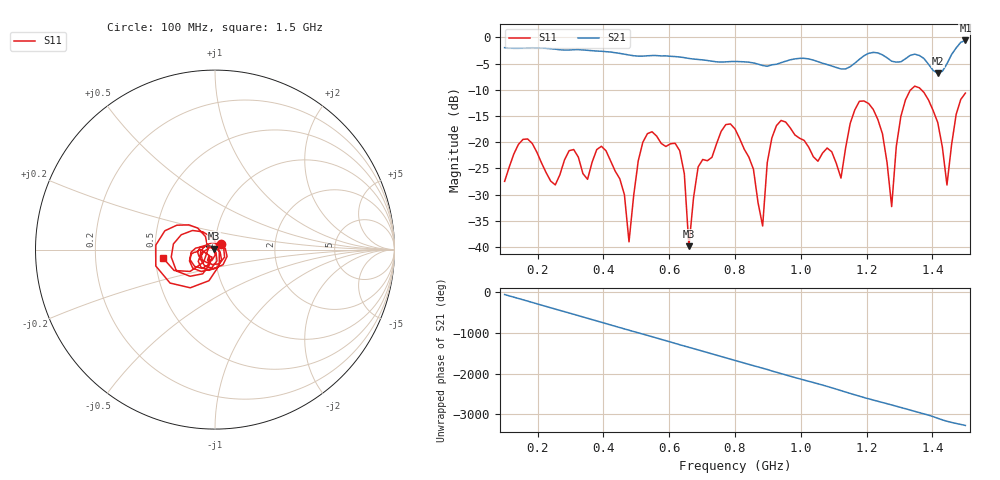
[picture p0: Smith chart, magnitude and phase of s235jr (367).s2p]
! NanoVNA-App
! Date: 2025-09-25 15:07:01
! Start: 100MHz Stop: 1,5GHz Points: 101
! S-Parameter data: F S11 S21 S12 S22
# Hz S RI R 50
!  Frequency  S11_Real  S11_Imag  S21_Real  S21_Imag  S12_Real  S12_Imag  S22_Real  S22_Imag
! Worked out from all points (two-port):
!   101 points, 100 MHz to 1.5 GHz, reference 50 ohm
!   highest |S21| = -0.59 dB at 1.5 GHz (marker M1); lowest = -6.8 dB at 1.416 GHz (marker M2)
!   |S21| within 3 dB of the highest: start of sweep to 599.8 MHz; 1.19 GHz to 1.254 GHz (64.13 MHz wide, 5.25 % of centre) (the widest 2 of 4)
!   lowest |S11| = -39.8 dB at 660 MHz (marker M3), VSWR 1.02, Z = 49.2 + j0.596 ohm
!   |S11| at or under -10 dB: start of sweep to 1.334 GHz; 1.366 GHz to end of sweep
!   S12 and S22 are empty: the file has one direction only
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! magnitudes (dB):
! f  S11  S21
! 100 MHz  -27.5  -2.0
! 156 MHz  -19.5  -2.1
! 338 MHz  -26.0  -2.4
! 408 MHz  -21.6  -2.7
! 478 MHz  -39.0  -3.4
! 520 MHz  -20.0  -3.6
! 576 MHz  -20.2  -3.5
! 632 MHz  -21.6  -3.7
! 660 MHz  -39.8  -4.0
! 688 MHz  -24.7  -4.2
! 800 MHz  -17.5  -4.6
! 884 MHz  -36.0  -5.4
! 926 MHz  -16.8  -5.1
! 1.038 GHz  -22.8  -4.3
! 1.122 GHz  -26.8  -6.0
! 1.206 GHz  -12.6  -3.0
! 1.276 GHz  -32.3  -4.6
! 1.304 GHz  -15.1  -4.7
! 1.332 GHz  -10.1  -3.4
! 1.416 GHz  -16.3  -6.8
! 1.444 GHz  -28.2  -5.0
! 1.5 GHz  -10.6  -0.6
